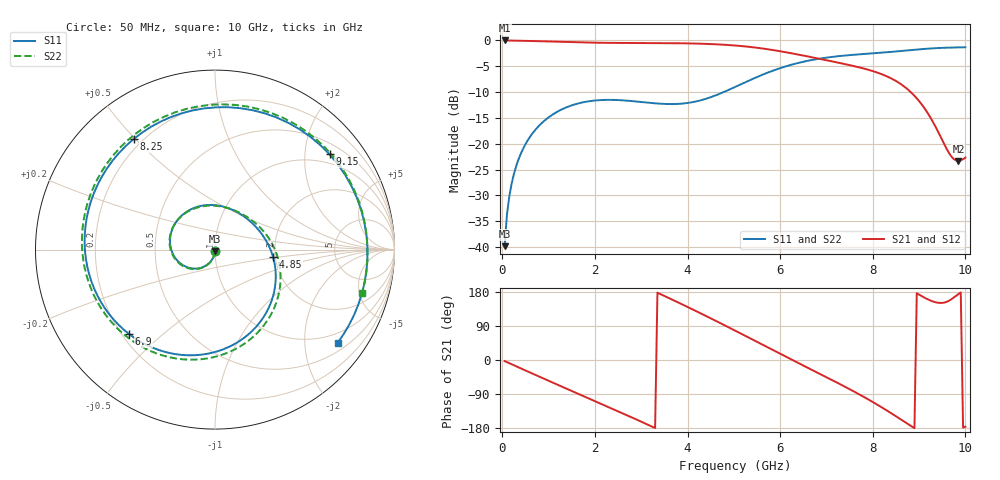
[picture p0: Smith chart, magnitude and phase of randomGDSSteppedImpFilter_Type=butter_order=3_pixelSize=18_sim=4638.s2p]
! freq	dB(S11)	phase(S11)	dB(S12)	phase(S12)
!  dB(S21)	phase(S21)	dB(S22)	phase(S22)
!S-par simulation data
#  GHz  S  DB  R 50
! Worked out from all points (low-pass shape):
!   200 points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, 50 MHz to 10 GHz, reference 50 ohm
!   highest |S21| = 0.00 dB at 50 MHz (marker M1); lowest = -23.3 dB at 9.85 GHz (marker M2)
!   |S21| within 3 dB of the highest: start of sweep to 6.543 GHz
!   lowest |S11| = -39.8 dB at 50 MHz (marker M3), VSWR 1.02, Z = 50 - j1.02 ohm
!   |S11| at or under -10 dB: start of sweep to 4.781 GHz
!   |S22| runs from -39.8 to -1.4 dB; largest |S21 - S12| = 0
!   S11 on the Smith chart (normalised r, x): 50 MHz: 1.00, -0.02; 4.85 GHz: 1.95, -0.18; 6.9 GHz: 0.23, -0.39; 8.25 GHz: 0.17, +0.49; 9.15 GHz: 0.75, +2.57; 10 GHz: 0.71, -2.80
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0.05  -39.85 -91.7  -0.00 -2.8  -0.00 -2.8  -39.78 -91.5
0.1  -33.79 -95.1  -0.01 -5.6  -0.01 -5.6  -33.78 -94.9
0.2  -27.80 -101.2  -0.03 -11.1  -0.03 -11.1  -27.80 -100.9
0.5  -20.10 -118.5  -0.08 -27.6  -0.08 -27.6  -20.10 -117.7
1.15  -14.00 -154.5  -0.25 -62.9  -0.25 -62.9  -14.00 -152.5
1.75  -11.97 172.6  -0.40 -95.0  -0.40 -95.0  -11.97 176.0
2.65  -11.63 122.7  -0.49 -143.4  -0.49 -143.4  -11.64 128.8
3.4  -12.25 79.5  -0.51 174.8  -0.51 174.8  -12.25 88.6
4.2  -11.79 31.9  -0.61 128.1  -0.61 128.1  -11.79 42.9
4.85  -9.73 -7.3  -0.87 88.5  -0.87 88.5  -9.73 3.2
5.05  -8.92 -19.6  -1.00 76.1  -1.00 76.1  -8.92 -9.4
5.85  -5.84 -69.5  -1.87 25.7  -1.87 25.7  -5.83 -60.1
6.7  -3.76 -122.9  -3.29 -27.0  -3.29 -27.0  -3.74 -112.6
6.9  -3.46 -135.6  -3.65 -39.3  -3.65 -39.3  -3.43 -124.8
7.65  -2.73 173.7  -5.09 -86.8  -5.09 -86.8  -2.70 -172.1
8.25  -2.33 126.3  -6.74 -129.1  -6.74 -129.1  -2.30 144.6
8.35  -2.25 117.5  -7.14 -136.8  -7.14 -136.8  -2.23 136.6
8.75  -1.93 79.9  -9.44 -168.2  -9.44 -168.2  -1.94 101.5
9.15  -1.62 39.7  -13.57 162.3  -13.57 162.3  -1.66 62.7
9.5  -1.43 5.5  -19.29 150.7  -19.29 150.7  -1.49 28.2
9.85  -1.35 -25.4  -23.32 174.4  -23.32 174.4  -1.40 -3.9
10  -1.33 -37.3  -22.70 -176.0  -22.70 -176.0  -1.36 -16.4
